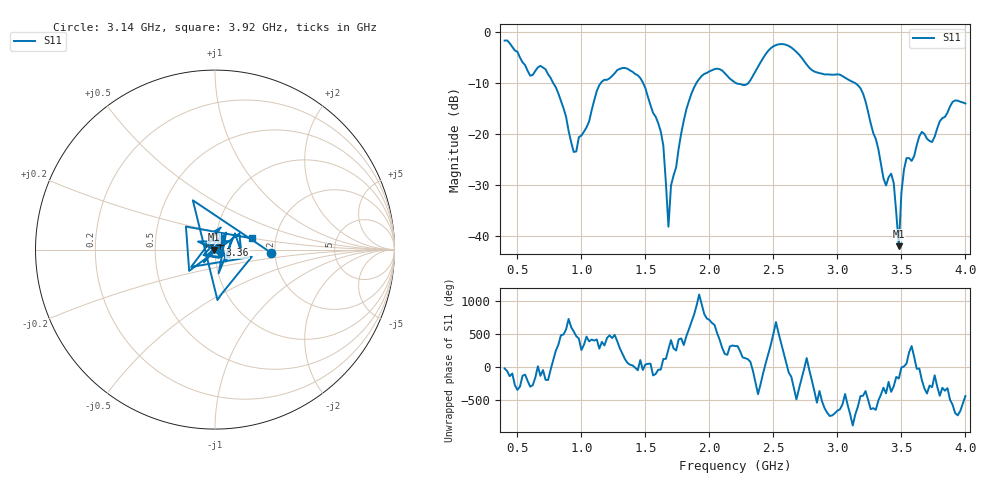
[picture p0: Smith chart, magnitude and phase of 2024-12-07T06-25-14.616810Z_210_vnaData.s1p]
!Created with skrf (http://scikit-rf.org).
# Hz S RI R 50.0
!freq ReS11 ImS11
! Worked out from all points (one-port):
!   181 points, 400 MHz to 4 GHz, reference 50 ohm
!   lowest |S11| = -42.0 dB at 3.48 GHz (marker M1), VSWR 1.02, Z = 49.2 + j0.00457 ohm
!   |S11| at or under -10 dB: 779.6 MHz to 1.152 GHz (372.3 MHz wide, 38.5 % of centre); 1.482 GHz to 1.898 GHz (416.2 MHz wide, 24.6 % of centre); 3.138 GHz to end of sweep (the widest 3 of 4)
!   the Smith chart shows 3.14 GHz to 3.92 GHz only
!   S11 on the Smith chart (normalised r, x): 3.14 GHz: 1.92, -0.08; 3.36 GHz: 1.06, +0.05; 3.92 GHz: 1.50, +0.20
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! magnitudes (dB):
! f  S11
! 400 MHz  -1.7
! 600 MHz  -8.6
! 720 MHz  -7.3
! 860 MHz  -14.9
! 960 MHz  -23.4
! 1.14 GHz  -10.4
! 1.3 GHz  -7.2
! 1.46 GHz  -9.0
! 1.6 GHz  -17.9
! 1.64 GHz  -22.3
! 1.68 GHz  -38.2
! 1.7 GHz  -30.1
! 1.76 GHz  -22.8
! 1.84 GHz  -13.6
! 1.94 GHz  -8.6
! 2.2 GHz  -9.9
! 2.66 GHz  -3.4
! 3.1 GHz  -9.5
! 3.14 GHz  -10.0
! 3.22 GHz  -13.6
! 3.36 GHz  -28.7
! 3.44 GHz  -29.6
! 3.48 GHz  -42.0
! 3.5 GHz  -31.5
! 3.52 GHz  -27.0
! 3.56 GHz  -24.7
! 3.92 GHz  -13.4
! 4 GHz  -14.0
